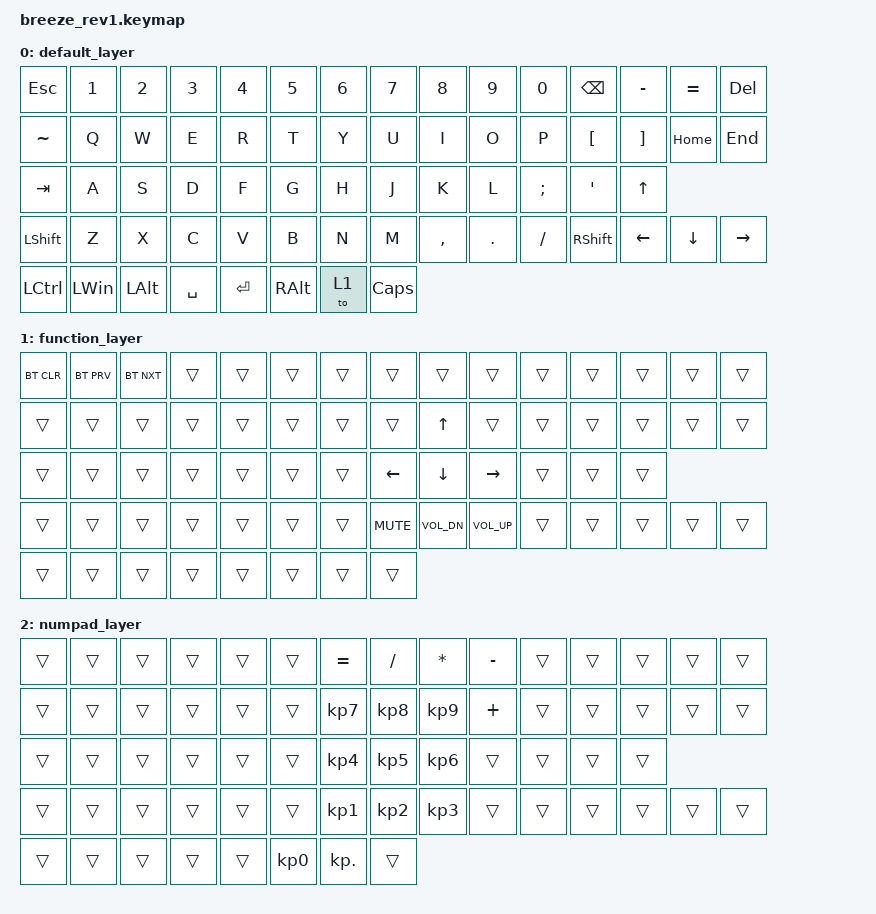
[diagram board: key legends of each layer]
/*
 * Copyright (c) 2022 The ZMK Contributors
 *
 * SPDX-License-Identifier: MIT
 */

#include <behaviors.dtsi>
#include <dt-bindings/zmk/bt.h>
#include <dt-bindings/zmk/keys.h>

/ {
    keymap {
        compatible = "zmk,keymap";

        default_layer {
            // Ref: https://zmkfirmware.dev/docs/codes/
            // ---  MAIN  -----------------------------------------------------------------------------------------------------------------------
            // |    ESC    |     1     |     2     |     3      |      4      |      5     |                           |      6      |      7     |      8      |      9     |     0    |    BSPC    | |    -/_    |     =/+     |    GRAVE    |
            // |    TAB    |     Q     |     W     |     E      |      R      |      T     |                           |      Y      |      U     |      I      |      O     |     P    |    DEL     | |     \     |      [      |      ]      |
            // |   LCTRL   |     A     |     S     |     D      |      F      |      G     |                           |      H      |      J     |      K      |      L     |     ;    |     '      | |           |      UP     |             |
            // |   SHIFT   |     Z     |     X     |     C      |      V      |      B     |                           |      N      |      M     |      ,      |      .     |     /    |   RSHIFT   | |     L     |      DN     |      R      |
            //                                     |   NUMPAD   |     LALT    |    LCMD    |   SPACE    |  |   ENTER   |   FUNCTION  |  MACOS APP |  MACOS LANG |

            bindings = <
&kp ESC           &kp N1    &kp N2        &kp N3     &kp N4   &kp N5         &kp N6  &kp N7    &kp N8     &kp N9   &kp N0    &kp BSPC          &kp MINUS          &kp EQUAL  &kp DELETE
&kp TILDE         &kp Q     &kp W         &kp E      &kp R    &kp T          &kp Y   &kp U     &kp I      &kp O    &kp P     &kp LEFT_BRACKET  &kp RIGHT_BRACKET  &kp HOME   &kp END
&kp TAB           &kp A     &kp S         &kp D      &kp F    &kp G          &kp H   &kp J     &kp K      &kp L    &kp SEMI  &kp APOS          &kp UP
&kp LEFT_SHIFT    &kp Z     &kp X         &kp C      &kp V    &kp B          &kp N   &kp M     &kp COMMA  &kp DOT  &kp FSLH  &kp RSHIFT        &kp LEFT           &kp DOWN   &kp RIGHT
&kp LEFT_CONTROL  &kp LWIN  &kp LEFT_ALT  &kp SPACE  &kp RET  &kp RIGHT_ALT  &to 1   &kp CAPS
            >;
        };

        function_layer {
            // ---  FUNCTION  -------------------------------------------------------------------------------------------------------------------
            // | BT Clear  |  BT Prev  |  BT Next  |            |             |            |                           |             |            |             |            |          |            | |           |             |             |
            // |           |           |           |            |             |            |                           |             |            |     UP      |            |          |            | |           |             |             |
            // |           |           |           |            |             |            |                           |             |    LEFT    |    DOWN     |   RIGHT    |          |            | |           |             |             |
            // |           |           |           |            |             |            |                           |             |    MUTE    |  VOL DOWN   |   VOL UP   |          |            | |           |             |             |
            //                                     |            |             |            |            |  |           |             |            |             |

            bindings = <
&bt BT_CLR  &bt BT_PRV  &bt BT_NXT  &trans  &trans  &trans  &trans  &trans      &trans        &trans        &trans  &trans  &trans  &trans  &trans
&trans      &trans      &trans      &trans  &trans  &trans  &trans  &trans      &kp UP        &trans        &trans  &trans  &trans  &trans  &trans
&trans      &trans      &trans      &trans  &trans  &trans  &trans  &kp LEFT    &kp DOWN      &kp RIGHT     &trans  &trans  &trans
&trans      &trans      &trans      &trans  &trans  &trans  &trans  &kp C_MUTE  &kp C_VOL_DN  &kp C_VOL_UP  &trans  &trans  &trans  &trans  &trans
&trans      &trans      &trans      &trans  &trans  &trans  &trans  &trans
            >;
        };

        numpad_layer {
            // ---  NUMPAD  -------------------------------------------------------------------------------------------------------------------
            // |           |           |           |            |             |            |                           |       =       |      /       |      *       |      -     |          |            | |           |             |             |
            // |           |           |           |            |             |            |                           |       7       |      8       |      9       |      +     |          |            | |           |             |             |
            // |           |           |           |            |             |            |                           |       4       |      5       |      6       |            |          |            | |           |             |             |
            // |           |           |           |            |             |            |                           |       1       |      2       |      3       |            |          |            | |           |             |             |
            //                                     |            |             |            |            |  |           |       0       |      .       |              |

            bindings = <
&trans  &trans  &trans  &trans  &trans  &trans           &kp EQUAL        &kp SLASH        &kp STAR         &kp MINUS  &trans  &trans  &trans  &trans  &trans
&trans  &trans  &trans  &trans  &trans  &trans           &kp KP_NUMBER_7  &kp KP_NUMBER_8  &kp KP_NUMBER_9  &kp PLUS   &trans  &trans  &trans  &trans  &trans
&trans  &trans  &trans  &trans  &trans  &trans           &kp KP_NUMBER_4  &kp KP_NUMBER_5  &kp KP_NUMBER_6  &trans     &trans  &trans  &trans
&trans  &trans  &trans  &trans  &trans  &trans           &kp KP_NUMBER_1  &kp KP_NUMBER_2  &kp KP_NUMBER_3  &trans     &trans  &trans  &trans  &trans  &trans
&trans  &trans  &trans  &trans  &trans  &kp KP_NUMBER_0  &kp KP_DOT       &trans
            >;
        };
    };
};
